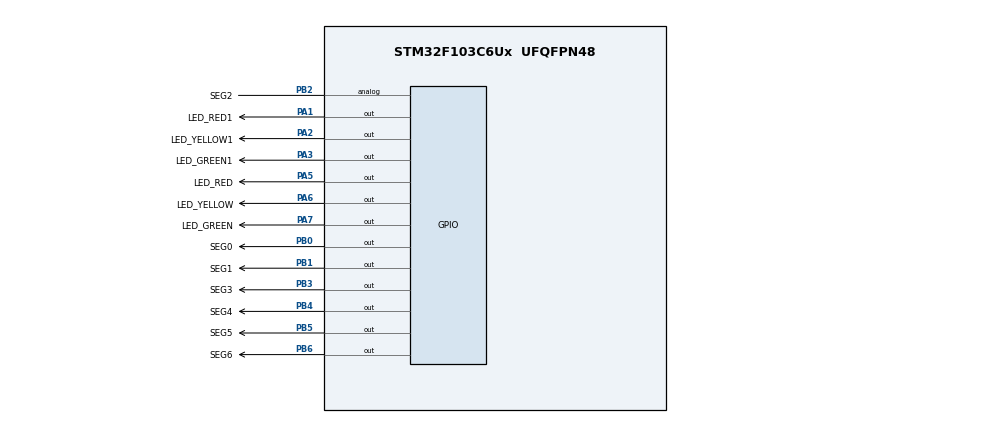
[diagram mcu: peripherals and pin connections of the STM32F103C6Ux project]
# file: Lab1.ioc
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Mcu.Family=STM32F1
Mcu.Name=STM32F103C6Ux
Mcu.Package=UFQFPN48
NVIC.PriorityGroup=NVIC_PRIORITYGROUP_4
PA1.GPIO_Label=LED_RED1
PA1.Signal=GPIO_Output
PA2.GPIO_Label=LED_YELLOW1
PA2.Signal=GPIO_Output
PA3.GPIO_Label=LED_GREEN1
PA3.Signal=GPIO_Output
PA5.GPIO_Label=LED_RED
PA5.Signal=GPIO_Output
PA6.GPIO_Label=LED_YELLOW
PA6.Signal=GPIO_Output
PA7.GPIO_Label=LED_GREEN
PA7.Signal=GPIO_Output
PB0.GPIO_Label=SEG0
PB0.Signal=GPIO_Output
PB1.GPIO_Label=SEG1
PB1.Signal=GPIO_Output
PB2.GPIO_Label=SEG2
PB2.Signal=GPIO_Analog
PB3.GPIO_Label=SEG3
PB3.Signal=GPIO_Output
PB4.GPIO_Label=SEG4
PB4.Signal=GPIO_Output
PB5.GPIO_Label=SEG5
PB5.Signal=GPIO_Output
PB6.GPIO_Label=SEG6
PB6.Signal=GPIO_Output
ProjectManager.HeapSize=0x200
ProjectManager.StackSize=0x400
ProjectManager.TargetToolchain=STM32CubeIDE
RCC.APB1Freq_Value=8000000
RCC.APB2Freq_Value=8000000
VP_SYS_VS_ND.Mode=No_Debug
board=custom

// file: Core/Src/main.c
/* USER CODE BEGIN Header */
/**
  ******************************************************************************
  * @file           : main.c
  * @brief          : Main program body
  ******************************************************************************
  * @attention
  *
  * <h2><center>&copy; Copyright (c) 2022 STMicroelectronics.
  * All rights reserved.</center></h2>
  *
  * This software component is licensed by ST under BSD 3-Clause license,
  * the "License"; You may not use this file except in compliance with the
  * License. You may obtain a copy of the License at:
  *                        opensource.org/licenses/BSD-3-Clause
  *
  ******************************************************************************
  */
/* USER CODE END Header */
#include "main.h"

void SystemClock_Config(void);
static void MX_GPIO_Init(void);
void display7SEG(int num);

/* USER CODE BEGIN 0 */
void display7SEG(int num) {
	//bat tat cac chan seg de hien thi so tuong ung
	//0: a, b, c ,d ,e, f=0, g=1
	if (num==0) {
		HAL_GPIO_WritePin(SEG0_GPIO_Port, SEG0_Pin, GPIO_PIN_RESET);
		HAL_GPIO_WritePin(SEG1_GPIO_Port, SEG1_Pin, GPIO_PIN_RESET);
		HAL_GPIO_WritePin(SEG2_GPIO_Port, SEG2_Pin, GPIO_PIN_RESET);
		HAL_GPIO_WritePin(SEG3_GPIO_Port, SEG3_Pin, GPIO_PIN_RESET);
		HAL_GPIO_WritePin(SEG4_GPIO_Port, SEG4_Pin, GPIO_PIN_RESET);
		HAL_GPIO_WritePin(SEG5_GPIO_Port, SEG5_Pin, GPIO_PIN_RESET);
		HAL_GPIO_WritePin(SEG6_GPIO_Port, SEG6_Pin, GPIO_PIN_SET);
	}
	//1:b, c=1, others=0
	else if (num==1) {
		HAL_GPIO_WritePin(SEG0_GPIO_Port, SEG0_Pin, GPIO_PIN_SET);
		HAL_GPIO_WritePin(SEG1_GPIO_Port, SEG1_Pin, GPIO_PIN_RESET);
		HAL_GPIO_WritePin(SEG2_GPIO_Port, SEG2_Pin, GPIO_PIN_RESET);
		HAL_GPIO_WritePin(SEG3_GPIO_Port, SEG3_Pin, GPIO_PIN_SET);
		HAL_GPIO_WritePin(SEG4_GPIO_Port, SEG4_Pin, GPIO_PIN_SET);
		HAL_GPIO_WritePin(SEG5_GPIO_Port, SEG5_Pin, GPIO_PIN_SET);
		HAL_GPIO_WritePin(SEG6_GPIO_Port, SEG6_Pin, GPIO_PIN_SET);
	}
	//2:a,b,d,e,g=0, others=1
	else if (num==2) {
		HAL_GPIO_WritePin(SEG0_GPIO_Port, SEG0_Pin, GPIO_PIN_RESET);
		HAL_GPIO_WritePin(SEG1_GPIO_Port, SEG1_Pin, GPIO_PIN_RESET);
		HAL_GPIO_WritePin(SEG2_GPIO_Port, SEG2_Pin, GPIO_PIN_SET);
		HAL_GPIO_WritePin(SEG3_GPIO_Port, SEG3_Pin, GPIO_PIN_RESET);
		HAL_GPIO_WritePin(SEG4_GPIO_Port, SEG4_Pin, GPIO_PIN_RESET);
		HAL_GPIO_WritePin(SEG5_GPIO_Port, SEG5_Pin, GPIO_PIN_SET);
		HAL_GPIO_WritePin(SEG6_GPIO_Port, SEG6_Pin, GPIO_PIN_RESET);
	}
	//3:a,b,c,d,g=0, others=1
	else if (num==3) {
		HAL_GPIO_WritePin(SEG0_GPIO_Port, SEG0_Pin, GPIO_PIN_RESET);
		HAL_GPIO_WritePin(SEG1_GPIO_Port, SEG1_Pin, GPIO_PIN_RESET);
		HAL_GPIO_WritePin(SEG2_GPIO_Port, SEG2_Pin, GPIO_PIN_RESET);
		HAL_GPIO_WritePin(SEG3_GPIO_Port, SEG3_Pin, GPIO_PIN_RESET);
		HAL_GPIO_WritePin(SEG4_GPIO_Port, SEG4_Pin, GPIO_PIN_SET);
		HAL_GPIO_WritePin(SEG5_GPIO_Port, SEG5_Pin, GPIO_PIN_SET);
		HAL_GPIO_WritePin(SEG6_GPIO_Port, SEG6_Pin, GPIO_PIN_RESET);
	}
	//4:b,c,f,g=0, others=1
	else if (num==4) {
		HAL_GPIO_WritePin(SEG0_GPIO_Port, SEG0_Pin, GPIO_PIN_SET);
		HAL_GPIO_WritePin(SEG1_GPIO_Port, SEG1_Pin, GPIO_PIN_RESET);
		HAL_GPIO_WritePin(SEG2_GPIO_Port, SEG2_Pin, GPIO_PIN_RESET);
		HAL_GPIO_WritePin(SEG3_GPIO_Port, SEG3_Pin, GPIO_PIN_SET);
		HAL_GPIO_WritePin(SEG4_GPIO_Port, SEG4_Pin, GPIO_PIN_SET);
		HAL_GPIO_WritePin(SEG5_GPIO_Port, SEG5_Pin, GPIO_PIN_RESET);
		HAL_GPIO_WritePin(SEG6_GPIO_Port, SEG6_Pin, GPIO_PIN_RESET);
	}
	//5:a, c, d, f ,g=0, others=1
	else if (num==5) {
		HAL_GPIO_WritePin(SEG0_GPIO_Port, SEG0_Pin, GPIO_PIN_RESET);
		HAL_GPIO_WritePin(SEG1_GPIO_Port, SEG1_Pin, GPIO_PIN_SET);
		HAL_GPIO_WritePin(SEG2_GPIO_Port, SEG2_Pin, GPIO_PIN_RESET);
		HAL_GPIO_WritePin(SEG3_GPIO_Port, SEG3_Pin, GPIO_PIN_RESET);
		HAL_GPIO_WritePin(SEG4_GPIO_Port, SEG4_Pin, GPIO_PIN_SET);
		HAL_GPIO_WritePin(SEG5_GPIO_Port, SEG5_Pin, GPIO_PIN_RESET);
		HAL_GPIO_WritePin(SEG6_GPIO_Port, SEG6_Pin, GPIO_PIN_RESET);
	}
	//6:a, c, d , e, f, g=0, others=1
	else if (num==6) {
		HAL_GPIO_WritePin(SEG0_GPIO_Port, SEG0_Pin, GPIO_PIN_RESET);
		HAL_GPIO_WritePin(SEG1_GPIO_Port, SEG1_Pin, GPIO_PIN_SET);
		HAL_GPIO_WritePin(SEG2_GPIO_Port, SEG2_Pin, GPIO_PIN_RESET);
		HAL_GPIO_WritePin(SEG3_GPIO_Port, SEG3_Pin, GPIO_PIN_RESET);
		HAL_GPIO_WritePin(SEG4_GPIO_Port, SEG4_Pin, GPIO_PIN_RESET);
		HAL_GPIO_WritePin(SEG5_GPIO_Port, SEG5_Pin, GPIO_PIN_RESET);
		HAL_GPIO_WritePin(SEG6_GPIO_Port, SEG6_Pin, GPIO_PIN_RESET);
	}
	//7:a,b,c=0, others=1
	else if (num==7) {
		HAL_GPIO_WritePin(SEG0_GPIO_Port, SEG0_Pin, GPIO_PIN_RESET);
		HAL_GPIO_WritePin(SEG1_GPIO_Port, SEG1_Pin, GPIO_PIN_RESET);
		HAL_GPIO_WritePin(SEG2_GPIO_Port, SEG2_Pin, GPIO_PIN_RESET);
		HAL_GPIO_WritePin(SEG3_GPIO_Port, SEG3_Pin, GPIO_PIN_SET);
		HAL_GPIO_WritePin(SEG4_GPIO_Port, SEG4_Pin, GPIO_PIN_SET);
		HAL_GPIO_WritePin(SEG5_GPIO_Port, SEG5_Pin, GPIO_PIN_SET);
		HAL_GPIO_WritePin(SEG6_GPIO_Port, SEG6_Pin, GPIO_PIN_SET);
	}
	//8:all=0
	else if (num==8) {
		HAL_GPIO_WritePin(SEG0_GPIO_Port, SEG0_Pin, GPIO_PIN_RESET);
		HAL_GPIO_WritePin(SEG1_GPIO_Port, SEG1_Pin, GPIO_PIN_RESET);
		HAL_GPIO_WritePin(SEG2_GPIO_Port, SEG2_Pin, GPIO_PIN_RESET);
		HAL_GPIO_WritePin(SEG3_GPIO_Port, SEG3_Pin, GPIO_PIN_RESET);
		HAL_GPIO_WritePin(SEG4_GPIO_Port, SEG4_Pin, GPIO_PIN_RESET);
		HAL_GPIO_WritePin(SEG5_GPIO_Port, SEG5_Pin, GPIO_PIN_RESET);
		HAL_GPIO_WritePin(SEG6_GPIO_Port, SEG6_Pin, GPIO_PIN_RESET);
	}
	//9: e=1, others=0
	else if (num==9) {
		HAL_GPIO_WritePin(SEG0_GPIO_Port, SEG0_Pin, GPIO_PIN_RESET);
		HAL_GPIO_WritePin(SEG1_GPIO_Port, SEG1_Pin, GPIO_PIN_RESET);
		HAL_GPIO_WritePin(SEG2_GPIO_Port, SEG2_Pin, GPIO_PIN_RESET);
		HAL_GPIO_WritePin(SEG3_GPIO_Port, SEG3_Pin, GPIO_PIN_RESET);
		HAL_GPIO_WritePin(SEG4_GPIO_Port, SEG4_Pin, GPIO_PIN_SET);
		HAL_GPIO_WritePin(SEG5_GPIO_Port, SEG5_Pin, GPIO_PIN_RESET);
		HAL_GPIO_WritePin(SEG6_GPIO_Port, SEG6_Pin, GPIO_PIN_RESET);
	}
	//else: set all
	else {
		HAL_GPIO_WritePin(SEG0_GPIO_Port, SEG0_Pin, GPIO_PIN_SET);
		HAL_GPIO_WritePin(SEG1_GPIO_Port, SEG1_Pin, GPIO_PIN_SET);
		HAL_GPIO_WritePin(SEG2_GPIO_Port, SEG2_Pin, GPIO_PIN_SET);
		HAL_GPIO_WritePin(SEG3_GPIO_Port, SEG3_Pin, GPIO_PIN_SET);
		HAL_GPIO_WritePin(SEG4_GPIO_Port, SEG4_Pin, GPIO_PIN_SET);
		HAL_GPIO_WritePin(SEG5_GPIO_Port, SEG5_Pin, GPIO_PIN_SET);
		HAL_GPIO_WritePin(SEG6_GPIO_Port, SEG6_Pin, GPIO_PIN_SET);
	}
}

/* USER CODE END 0 */

int main(void)
{

  /* MCU Configuration--------------------------------------------------------*/

  /* Reset of all peripherals, Initializes the Flash interface and the Systick. */
  HAL_Init();

  /* Configure the system clock */
  SystemClock_Config();

  /* Initialize all configured peripherals */
  MX_GPIO_Init();

  /* Infinite loop */
  /* USER CODE BEGIN WHILE */
  int counter=0;

  while (1)
  {
	  //test display7seg()
	  if( counter >= 10) counter = 0;
	  display7SEG ( counter ++) ;
	  HAL_Delay (1000) ;
    /* USER CODE END WHILE */

  }
}

void SystemClock_Config(void)
{
  RCC_OscInitTypeDef RCC_OscInitStruct = {0};
  RCC_ClkInitTypeDef RCC_ClkInitStruct = {0};

  /** Initializes the RCC Oscillators according to the specified parameters
  * in the RCC_OscInitTypeDef structure.
  */
  RCC_OscInitStruct.OscillatorType = RCC_OSCILLATORTYPE_HSI;
  RCC_OscInitStruct.HSIState = RCC_HSI_ON;
  RCC_OscInitStruct.HSICalibrationValue = RCC_HSICALIBRATION_DEFAULT;
  RCC_OscInitStruct.PLL.PLLState = RCC_PLL_NONE;
  if (HAL_RCC_OscConfig(&RCC_OscInitStruct) != HAL_OK)
  {
    Error_Handler();
  }
  /** Initializes the CPU, AHB and APB buses clocks
  */
  RCC_ClkInitStruct.ClockType = RCC_CLOCKTYPE_HCLK|RCC_CLOCKTYPE_SYSCLK
                              |RCC_CLOCKTYPE_PCLK1|RCC_CLOCKTYPE_PCLK2;
  RCC_ClkInitStruct.SYSCLKSource = RCC_SYSCLKSOURCE_HSI;
  RCC_ClkInitStruct.AHBCLKDivider = RCC_SYSCLK_DIV1;
  RCC_ClkInitStruct.APB1CLKDivider = RCC_HCLK_DIV1;
  RCC_ClkInitStruct.APB2CLKDivider = RCC_HCLK_DIV1;

  if (HAL_RCC_ClockConfig(&RCC_ClkInitStruct, FLASH_LATENCY_0) != HAL_OK)
  {
    Error_Handler();
  }
}

static void MX_GPIO_Init(void)
{
  GPIO_InitTypeDef GPIO_InitStruct = {0};

  /* GPIO Ports Clock Enable */
  __HAL_RCC_GPIOA_CLK_ENABLE();
  __HAL_RCC_GPIOB_CLK_ENABLE();

  /*Configure GPIO pin Output Level */
  HAL_GPIO_WritePin(GPIOA, LED_RED1_Pin|LED_YELLOW1_Pin|LED_GREEN1_Pin|LED_RED_Pin
                          |LED_YELLOW_Pin|LED_GREEN_Pin, GPIO_PIN_RESET);

  /*Configure GPIO pin Output Level */
  HAL_GPIO_WritePin(GPIOB, SEG0_Pin|SEG1_Pin|SEG3_Pin|SEG4_Pin
                          |SEG5_Pin|SEG6_Pin, GPIO_PIN_RESET);

  /*Configure GPIO pins : LED_RED1_Pin LED_YELLOW1_Pin LED_GREEN1_Pin LED_RED_Pin
                           LED_YELLOW_Pin LED_GREEN_Pin */
  GPIO_InitStruct.Pin = LED_RED1_Pin|LED_YELLOW1_Pin|LED_GREEN1_Pin|LED_RED_Pin
                          |LED_YELLOW_Pin|LED_GREEN_Pin;
  GPIO_InitStruct.Mode = GPIO_MODE_OUTPUT_PP;
  GPIO_InitStruct.Pull = GPIO_NOPULL;
  GPIO_InitStruct.Speed = GPIO_SPEED_FREQ_LOW;
  HAL_GPIO_Init(GPIOA, &GPIO_InitStruct);

  /*Configure GPIO pins : SEG0_Pin SEG1_Pin SEG3_Pin SEG4_Pin
                           SEG5_Pin SEG6_Pin */
  GPIO_InitStruct.Pin = SEG0_Pin|SEG1_Pin|SEG3_Pin|SEG4_Pin
                          |SEG5_Pin|SEG6_Pin;
  GPIO_InitStruct.Mode = GPIO_MODE_OUTPUT_PP;
  GPIO_InitStruct.Pull = GPIO_NOPULL;
  GPIO_InitStruct.Speed = GPIO_SPEED_FREQ_LOW;
  HAL_GPIO_Init(GPIOB, &GPIO_InitStruct);

  /*Configure GPIO pin : SEG2_Pin */
  GPIO_InitStruct.Pin = SEG2_Pin;
  GPIO_InitStruct.Mode = GPIO_MODE_OUTPUT_PP;
  HAL_GPIO_Init(SEG2_GPIO_Port, &GPIO_InitStruct);

}

void Error_Handler(void)
{
  __disable_irq();
  while (1)
  {
  }
}

/************************ (C) COPYRIGHT STMicroelectronics *****END OF FILE****/
